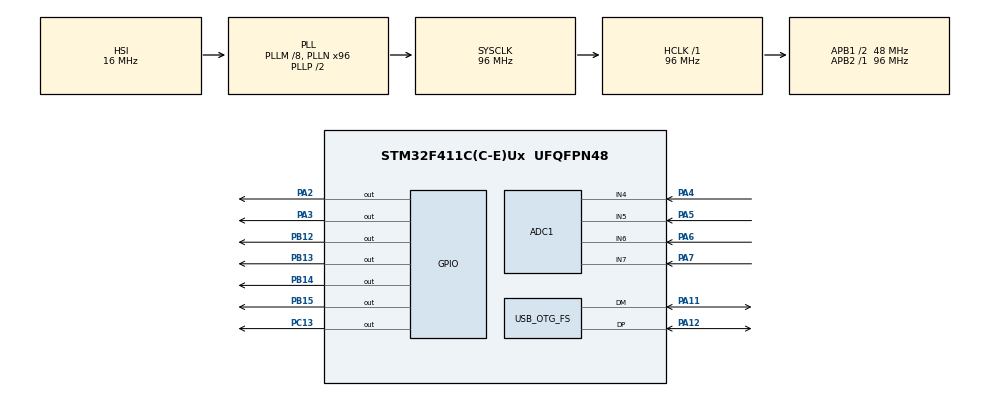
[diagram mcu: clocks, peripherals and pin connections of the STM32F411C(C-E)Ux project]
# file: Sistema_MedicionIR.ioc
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ADC1.Channel-0\#ChannelRegularConversion=ADC_CHANNEL_6
ADC1.Channel-1\#ChannelRegularConversion=ADC_CHANNEL_6
ADC1.Channel-2\#ChannelRegularConversion=ADC_CHANNEL_6
ADC1.Channel-3\#ChannelRegularConversion=ADC_CHANNEL_6
ADC1.ClockPrescaler=ADC_CLOCK_SYNC_PCLK_DIV4
ADC1.DiscontinuousConvMode=ENABLE
ADC1.EnableAnalogWatchDog=false
ADC1.NbrOfConversion=4
ADC1.NbrOfConversionFlag=1
ADC1.Rank-0\#ChannelRegularConversion=1
ADC1.Rank-1\#ChannelRegularConversion=2
ADC1.Rank-2\#ChannelRegularConversion=3
ADC1.Rank-3\#ChannelRegularConversion=4
ADC1.SamplingTime-0\#ChannelRegularConversion=ADC_SAMPLETIME_3CYCLES
ADC1.SamplingTime-1\#ChannelRegularConversion=ADC_SAMPLETIME_3CYCLES
ADC1.SamplingTime-2\#ChannelRegularConversion=ADC_SAMPLETIME_3CYCLES
ADC1.SamplingTime-3\#ChannelRegularConversion=ADC_SAMPLETIME_3CYCLES
ADC1.ScanConvMode=ENABLE
ADC1.master=1
Mcu.Family=STM32F4
Mcu.Name=STM32F411C(C-E)Ux
Mcu.Package=UFQFPN48
NVIC.OTG_FS_IRQn=true\:0\:0\:false\:false\:true\:false\:true\:true
NVIC.PriorityGroup=NVIC_PRIORITYGROUP_4
PA11.Mode=Device_Only
PA11.Signal=USB_OTG_FS_DM
PA12.Mode=Device_Only
PA12.Signal=USB_OTG_FS_DP
PA2.Signal=GPIO_Output
PA3.Signal=GPIO_Output
PA4.Signal=ADCx_IN4
PA5.Signal=ADCx_IN5
PA6.Signal=ADCx_IN6
PA7.Signal=ADCx_IN7
PB12.Signal=GPIO_Output
PB13.Signal=GPIO_Output
PB14.Signal=GPIO_Output
PB15.Signal=GPIO_Output
PC13-ANTI_TAMP.GPIO_PuPd=GPIO_PULLDOWN
PC13-ANTI_TAMP.Signal=GPIO_Output
PH0\ -\ OSC_IN.Mode=HSE-External-Oscillator
PH0\ -\ OSC_IN.Signal=RCC_OSC_IN
PH1\ -\ OSC_OUT.Mode=HSE-External-Oscillator
PH1\ -\ OSC_OUT.Signal=RCC_OSC_OUT
ProjectManager.HeapSize=0x200
ProjectManager.StackSize=0x400
ProjectManager.TargetToolchain=STM32CubeIDE
RCC.48MHZClocksFreq_Value=48000000
RCC.AHBFreq_Value=96000000
RCC.APB1CLKDivider=RCC_HCLK_DIV2
RCC.APB1Freq_Value=48000000
RCC.APB1TimFreq_Value=96000000
RCC.APB2Freq_Value=96000000
RCC.APB2TimFreq_Value=96000000
RCC.CortexFreq_Value=96000000
RCC.HCLKFreq_Value=96000000
RCC.HSE_VALUE=25000000
RCC.HSI_VALUE=16000000
RCC.LSE_VALUE=32768
RCC.PLLM=8
RCC.PLLN=96
RCC.PLLSourceVirtualString=RCC_PLLSOURCE_HSI
RCC.SYSCLKFreq_VALUE=96000000
RCC.SYSCLKSource=RCC_SYSCLKSOURCE_PLLCLK
RCC.VCOOutputFreq_Value=192000000
SH.ADCx_IN4.0=ADC1_IN4,IN4
SH.ADCx_IN5.0=ADC1_IN5,IN5
SH.ADCx_IN6.0=ADC1_IN6,IN6
SH.ADCx_IN7.0=ADC1_IN7,IN7
TIM2.Prescaler=96-1
USB_DEVICE.CLASS_NAME_FS=CDC
USB_DEVICE.VirtualMode=Cdc
USB_DEVICE.VirtualModeFS=Cdc_FS
USB_OTG_FS.VirtualMode=Device_Only
VP_TIM2_VS_ClockSourceINT.Mode=Internal
VP_USB_DEVICE_VS_USB_DEVICE_CDC_FS.Mode=CDC_FS
board=custom

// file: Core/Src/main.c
/* USER CODE BEGIN Header */
/**
  ******************************************************************************
  * @file           : main.c
  * @brief          : Main program body
  ******************************************************************************
  * @attention
  *
  * Copyright (c) 2025 STMicroelectronics.
  * All rights reserved.
  *
  * This software is licensed under terms that can be found in the LICENSE file
  * in the root directory of this software component.
  * If no LICENSE file comes with this software, it is provided AS-IS.
  *
  ******************************************************************************
  */
/* USER CODE END Header */
#include "main.h"
#include "usb_device.h"

/* USER CODE BEGIN Includes */
#include "adc_custom.h"
#include "ades_usb.h"
#include "math.h"
#include "ades_ir.h"
/* USER CODE END Includes */

ADC_HandleTypeDef hadc1;

TIM_HandleTypeDef htim2;

/* USER CODE BEGIN PV */

Eye eye;

uint16_t ADC_Value;
uint16_t ADC_RES;
float AD_RES;
uint16_t ADC_OFF[4];
uint16_t ADC_ON[4];
uint16_t promedios;
float distancia;
float Global_Prom;
/* USER CODE END PV */

void SystemClock_Config(void);
static void MX_GPIO_Init(void);
static void MX_ADC1_Init(void);
static void MX_TIM2_Init(void);
/* USER CODE BEGIN PFP */
void get_prom(void);
/* USER CODE END PFP */

int main(void)
{

  /* MCU Configuration--------------------------------------------------------*/

  /* Reset of all peripherals, Initializes the Flash interface and the Systick. */
  HAL_Init();

  /* Configure the system clock */
  SystemClock_Config();

  /* Initialize all configured peripherals */
  MX_GPIO_Init();
  MX_ADC1_Init();
  MX_TIM2_Init();
  MX_USB_DEVICE_Init();
  /* USER CODE BEGIN 2 */
  ADC_Init_Custom(&hadc1);
  ades_ir_PowerDownAll();
  /* USER CODE END 2 */

  /* Infinite loop */
  /* USER CODE BEGIN WHILE */
  while (1)
  {
	  ades_ir_CalculateDistances(&eye, &hadc1);

    /* USER CODE END WHILE */

  }
}

void SystemClock_Config(void)
{
  RCC_OscInitTypeDef RCC_OscInitStruct = {0};
  RCC_ClkInitTypeDef RCC_ClkInitStruct = {0};

  /** Configure the main internal regulator output voltage
  */
  __HAL_RCC_PWR_CLK_ENABLE();
  __HAL_PWR_VOLTAGESCALING_CONFIG(PWR_REGULATOR_VOLTAGE_SCALE1);

  /** Initializes the RCC Oscillators according to the specified parameters
  * in the RCC_OscInitTypeDef structure.
  */
  RCC_OscInitStruct.OscillatorType = RCC_OSCILLATORTYPE_HSI;
  RCC_OscInitStruct.HSIState = RCC_HSI_ON;
  RCC_OscInitStruct.HSICalibrationValue = RCC_HSICALIBRATION_DEFAULT;
  RCC_OscInitStruct.PLL.PLLState = RCC_PLL_ON;
  RCC_OscInitStruct.PLL.PLLSource = RCC_PLLSOURCE_HSI;
  RCC_OscInitStruct.PLL.PLLM = 8;
  RCC_OscInitStruct.PLL.PLLN = 96;
  RCC_OscInitStruct.PLL.PLLP = RCC_PLLP_DIV2;
  RCC_OscInitStruct.PLL.PLLQ = 4;
  if (HAL_RCC_OscConfig(&RCC_OscInitStruct) != HAL_OK)
  {
    Error_Handler();
  }

  /** Initializes the CPU, AHB and APB buses clocks
  */
  RCC_ClkInitStruct.ClockType = RCC_CLOCKTYPE_HCLK|RCC_CLOCKTYPE_SYSCLK
                              |RCC_CLOCKTYPE_PCLK1|RCC_CLOCKTYPE_PCLK2;
  RCC_ClkInitStruct.SYSCLKSource = RCC_SYSCLKSOURCE_PLLCLK;
  RCC_ClkInitStruct.AHBCLKDivider = RCC_SYSCLK_DIV1;
  RCC_ClkInitStruct.APB1CLKDivider = RCC_HCLK_DIV2;
  RCC_ClkInitStruct.APB2CLKDivider = RCC_HCLK_DIV1;

  if (HAL_RCC_ClockConfig(&RCC_ClkInitStruct, FLASH_LATENCY_3) != HAL_OK)
  {
    Error_Handler();
  }
}

static void MX_ADC1_Init(void)
{

  ADC_ChannelConfTypeDef sConfig = {0};

  /** Configure the global features of the ADC (Clock, Resolution, Data Alignment and number of conversion)
  */
  hadc1.Instance = ADC1;
  hadc1.Init.ClockPrescaler = ADC_CLOCK_SYNC_PCLK_DIV4;
  hadc1.Init.Resolution = ADC_RESOLUTION_12B;
  hadc1.Init.ScanConvMode = ENABLE;
  hadc1.Init.ContinuousConvMode = DISABLE;
  hadc1.Init.DiscontinuousConvMode = ENABLE;
  hadc1.Init.NbrOfDiscConversion = 1;
  hadc1.Init.ExternalTrigConvEdge = ADC_EXTERNALTRIGCONVEDGE_NONE;
  hadc1.Init.ExternalTrigConv = ADC_SOFTWARE_START;
  hadc1.Init.DataAlign = ADC_DATAALIGN_RIGHT;
  hadc1.Init.NbrOfConversion = 4;
  hadc1.Init.DMAContinuousRequests = DISABLE;
  hadc1.Init.EOCSelection = ADC_EOC_SINGLE_CONV;
  if (HAL_ADC_Init(&hadc1) != HAL_OK)
  {
    Error_Handler();
  }

  /** Configure for the selected ADC regular channel its corresponding rank in the sequencer and its sample time.
  */
  sConfig.Channel = ADC_CHANNEL_6;
  sConfig.Rank = 1;
  sConfig.SamplingTime = ADC_SAMPLETIME_3CYCLES;
  if (HAL_ADC_ConfigChannel(&hadc1, &sConfig) != HAL_OK)
  {
    Error_Handler();
  }

  /** Configure for the selected ADC regular channel its corresponding rank in the sequencer and its sample time.
  */
  sConfig.Rank = 2;
  if (HAL_ADC_ConfigChannel(&hadc1, &sConfig) != HAL_OK)
  {
    Error_Handler();
  }

  /** Configure for the selected ADC regular channel its corresponding rank in the sequencer and its sample time.
  */
  sConfig.Rank = 3;
  if (HAL_ADC_ConfigChannel(&hadc1, &sConfig) != HAL_OK)
  {
    Error_Handler();
  }

  /** Configure for the selected ADC regular channel its corresponding rank in the sequencer and its sample time.
  */
  sConfig.Rank = 4;
  if (HAL_ADC_ConfigChannel(&hadc1, &sConfig) != HAL_OK)
  {
    Error_Handler();
  }

}

static void MX_TIM2_Init(void)
{

  TIM_ClockConfigTypeDef sClockSourceConfig = {0};
  TIM_MasterConfigTypeDef sMasterConfig = {0};

  htim2.Instance = TIM2;
  htim2.Init.Prescaler = 96-1;
  htim2.Init.CounterMode = TIM_COUNTERMODE_UP;
  htim2.Init.Period = 4294967295;
  htim2.Init.ClockDivision = TIM_CLOCKDIVISION_DIV1;
  htim2.Init.AutoReloadPreload = TIM_AUTORELOAD_PRELOAD_DISABLE;
  if (HAL_TIM_Base_Init(&htim2) != HAL_OK)
  {
    Error_Handler();
  }
  sClockSourceConfig.ClockSource = TIM_CLOCKSOURCE_INTERNAL;
  if (HAL_TIM_ConfigClockSource(&htim2, &sClockSourceConfig) != HAL_OK)
  {
    Error_Handler();
  }
  sMasterConfig.MasterOutputTrigger = TIM_TRGO_RESET;
  sMasterConfig.MasterSlaveMode = TIM_MASTERSLAVEMODE_DISABLE;
  if (HAL_TIMEx_MasterConfigSynchronization(&htim2, &sMasterConfig) != HAL_OK)
  {
    Error_Handler();
  }

}

static void MX_GPIO_Init(void)
{
  GPIO_InitTypeDef GPIO_InitStruct = {0};

  /* GPIO Ports Clock Enable */
  __HAL_RCC_GPIOC_CLK_ENABLE();
  __HAL_RCC_GPIOH_CLK_ENABLE();
  __HAL_RCC_GPIOA_CLK_ENABLE();
  __HAL_RCC_GPIOB_CLK_ENABLE();

  /*Configure GPIO pin Output Level */
  HAL_GPIO_WritePin(GPIOC, GPIO_PIN_13, GPIO_PIN_RESET);

  /*Configure GPIO pin Output Level */
  HAL_GPIO_WritePin(GPIOA, GPIO_PIN_2|GPIO_PIN_3, GPIO_PIN_RESET);

  /*Configure GPIO pin Output Level */
  HAL_GPIO_WritePin(GPIOB, GPIO_PIN_12|GPIO_PIN_13|GPIO_PIN_14|GPIO_PIN_15, GPIO_PIN_RESET);

  /*Configure GPIO pin : PC13 */
  GPIO_InitStruct.Pin = GPIO_PIN_13;
  GPIO_InitStruct.Mode = GPIO_MODE_OUTPUT_PP;
  GPIO_InitStruct.Pull = GPIO_PULLDOWN;
  GPIO_InitStruct.Speed = GPIO_SPEED_FREQ_LOW;
  HAL_GPIO_Init(GPIOC, &GPIO_InitStruct);

  /*Configure GPIO pins : PA2 PA3 */
  GPIO_InitStruct.Pin = GPIO_PIN_2|GPIO_PIN_3;
  GPIO_InitStruct.Mode = GPIO_MODE_OUTPUT_PP;
  GPIO_InitStruct.Pull = GPIO_NOPULL;
  GPIO_InitStruct.Speed = GPIO_SPEED_FREQ_LOW;
  HAL_GPIO_Init(GPIOA, &GPIO_InitStruct);

  /*Configure GPIO pins : PB12 PB13 PB14 PB15 */
  GPIO_InitStruct.Pin = GPIO_PIN_12|GPIO_PIN_13|GPIO_PIN_14|GPIO_PIN_15;
  GPIO_InitStruct.Mode = GPIO_MODE_OUTPUT_PP;
  GPIO_InitStruct.Pull = GPIO_NOPULL;
  GPIO_InitStruct.Speed = GPIO_SPEED_FREQ_LOW;
  HAL_GPIO_Init(GPIOB, &GPIO_InitStruct);

}

/* USER CODE BEGIN 4 */
/*void get_prom(void)
{
	uint16_t prom;
	// Cálcula distancia 1
	for(int i = 0; i < 10; i++)
	{
		prom += ADC_ON[0][i] - ADC_ON[0][i];
	}
	prom /= 10;
	promedios[0] = prom;

	// Cálcula distancia 2
	for(int i = 1; i < 10; i++)
	{
		prom += ADC_ON[1][i] - ADC_ON[1][i];
	}
	prom /= 10;
	promedios[1] = prom;

	//Calcula distancia 3
	for(int i = 1; i < 10; i++)
	{
		prom += ADC_ON[2][i] - ADC_ON[2][i];
	}
	prom /= 10;
	promedios[2] = prom;

	//Calcula distancia 4
	for(int i = 1; i < 10; i++)
	{
		prom += ADC_ON[3][i] - ADC_ON[3][i];
	}
	prom /= 10;
	promedios[3] = prom;
}*/
/* USER CODE END 4 */

void Error_Handler(void)
{
  __disable_irq();
  while (1)
  {
  }
}
